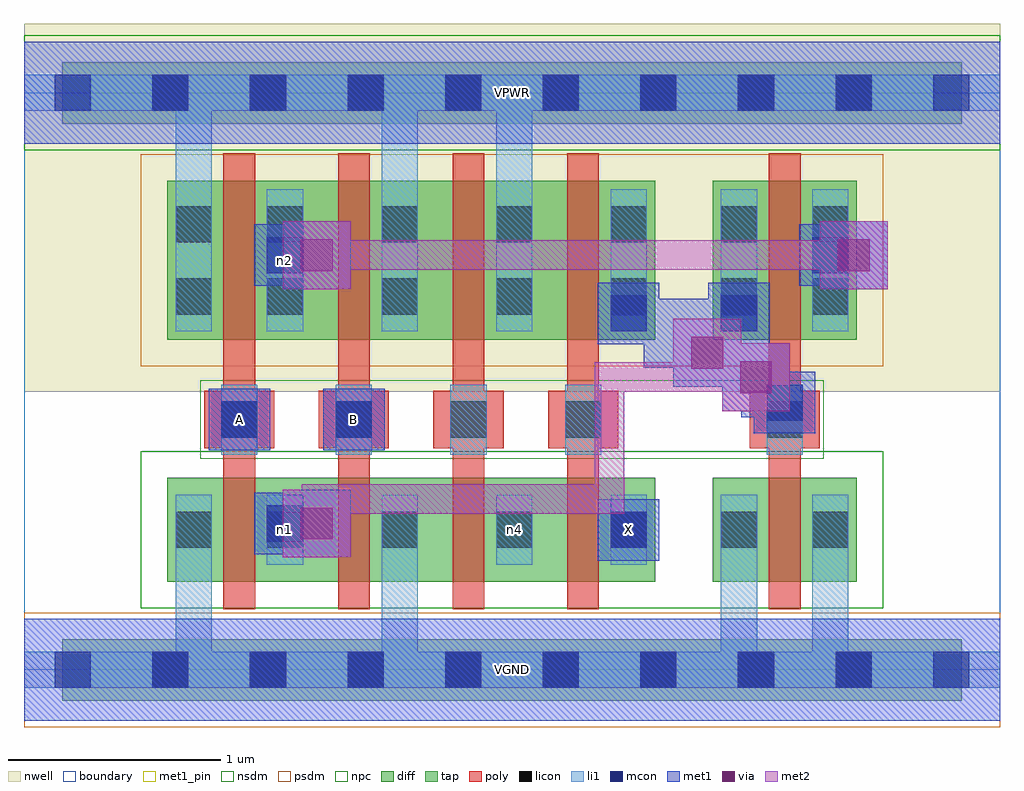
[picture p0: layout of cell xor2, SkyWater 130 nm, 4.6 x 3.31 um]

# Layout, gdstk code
import gdstk
lib = gdstk.Library(unit=1e-6, precision=1e-09)
def R(c, l, rs):  # rectangles x0, y0, x1, y1
    for r in rs: c.add(gdstk.rectangle(r[:2], r[2:], *l))
def A(c, l, x, y, w, h, nx, ny, dx, dy):  # array of equal rectangles
    R(c, l, [(x+i*dx, y+j*dy, x+i*dx+w, y+j*dy+h) for i in range(nx) for j in range(ny)])
nwell = (64, 20)
diff = (65, 20)
tap = (65, 44)
poly = (66, 20)
licon = (66, 44)
li1 = (67, 20)
mcon = (67, 44)
met1_pin = (68, 16)
met1 = (68, 20)
via = (68, 44)
met2 = (69, 20)
nsdm = (93, 44)
psdm = (94, 20)
npc = (95, 20)
boundary = (235, 4)

xor2 = lib.new_cell('xor2')
R(xor2, nwell, [(0,1.31,4.6,3.045)])
R(xor2, diff, [(0.675,0.415,2.975,0.905), (3.245,0.415,3.925,0.905), (0.675,1.555,2.975,2.305), (3.245,1.555,3.925,2.305)])
R(xor2, tap, [(0.18,-0.145,4.42,0.145), (0.18,2.575,4.42,2.865)])
A(xor2, poly, 0.94, 0.285, 0.15, 2.15, 4, 1, 0.54, 0)
A(xor2, poly, 0.85, 1.045, 0.33, 0.27, 4, 1, 0.54, 0)
R(xor2, poly, [(3.51,0.285,3.66,2.435), (3.42,1.045,3.75,1.315)])
A(xor2, licon, 0.605, -0.085, 0.17, 0.17, 8, 2, 0.46, 2.72)
A(xor2, licon, 1.145, 0.575, 0.17, 0.17, 4, 2, 0.54, 1.1)
A(xor2, licon, 0.93, 1.095, 0.17, 0.17, 4, 1, 0.54, 0)
A(xor2, licon, 1.145, 2.015, 0.17, 0.17, 4, 1, 0.54, 0)
R(xor2, licon, [(0.715,0.575,0.885,0.745), (3.285,0.575,3.455,0.745), (3.715,0.575,3.885,0.745), (3.5,1.095,3.67,1.265), (0.715,1.675,0.885,1.845), (3.285,1.675,3.455,1.845), (3.715,1.675,3.885,1.845), (0.715,2.015,0.885,2.185), (3.285,2.015,3.455,2.185), (3.715,2.015,3.885,2.185)])
A(xor2, li1, 1.145, 0.495, 0.17, 0.33, 4, 1, 0.54, 0)
A(xor2, li1, 0.93, 1.015, 0.17, 0.33, 4, 1, 0.54, 0)
A(xor2, li1, 1.145, 1.595, 0.17, 0.67, 4, 1, 0.54, 0)
R(xor2, li1, [(0,-0.085,4.6,0.085), (0.715,-0.085,0.885,0.825), (1.685,-0.085,1.855,0.825), (3.285,-0.085,3.455,0.825), (3.715,-0.085,3.885,0.825), (0.715,0.495,0.885,0.825), (3.285,0.495,3.455,0.825), (3.715,0.495,3.885,0.825), (3.5,1.015,3.67,1.345), (0.715,1.595,0.885,2.265), (0.715,1.595,0.885,2.805), (1.685,1.595,1.855,2.805), (2.225,1.595,2.395,2.805), (3.285,1.595,3.455,2.265), (3.715,1.595,3.885,2.265), (0,2.635,4.6,2.805)])
A(xor2, mcon, 0.145, -0.085, 0.17, 0.17, 10, 2, 0.46, 2.72)
R(xor2, mcon, [(2.765,0.575,2.935,0.745), (1.145,0.605,1.315,0.775), (0.93,1.095,1.1,1.265), (1.47,1.095,1.64,1.265), (3.5,1.175,3.67,1.345), (2.765,1.595,2.935,1.765), (3.285,1.595,3.455,1.765), (1.145,1.87,1.315,2.04), (3.715,1.87,3.885,2.04)])
R(xor2, met1_pin, [(0,-0.24,4.6,0.24), (2.705,0.515,2.995,0.805), (0.87,1.035,1.16,1.325), (1.41,1.035,1.7,1.325), (0,2.48,4.6,2.96)])
R(xor2, met1, [(0,-0.24,4.6,0.24), (2.705,0.515,2.995,0.805), (1.22,0.53,1.54,0.85), (1.085,0.545,1.375,0.835), (1.16,0.62,1.45,0.76), (0.87,1.035,1.16,1.325), (1.41,1.035,1.7,1.325), (3.44,1.115,3.73,1.405), (3.38,1.19,3.655,1.33), (3.38,1.19,3.52,1.45), (3.29,1.22,3.61,1.54), (3.06,1.335,3.38,1.655), (2.92,1.425,3.06,1.75), (2.92,1.425,3.29,1.565), (3.06,1.425,3.15,1.75), (3.15,1.425,3.29,1.75), (2.705,1.535,2.995,1.825), (3.225,1.535,3.515,1.825), (2.78,1.61,3.06,1.75), (3.06,1.61,3.15,1.75), (3.15,1.61,3.44,1.75), (1.22,1.795,1.54,2.115), (3.75,1.795,4.07,2.115), (1.085,1.81,1.375,2.1), (3.655,1.81,3.945,2.1), (1.16,1.885,1.45,2.025), (3.73,1.885,3.98,2.025), (0,2.48,4.6,2.96)])
R(xor2, via, [(1.305,0.615,1.455,0.765), (3.375,1.305,3.525,1.455), (3.145,1.42,3.295,1.57), (1.305,1.88,1.455,2.03), (3.835,1.88,3.985,2.03)])
R(xor2, met2, [(1.22,0.53,1.54,0.85), (1.31,0.62,1.45,0.875), (1.31,0.735,2.83,0.875), (2.69,0.735,2.83,1.45), (3.29,1.22,3.61,1.54), (2.69,1.31,3.29,1.45), (3.15,1.31,3.29,1.565), (3.15,1.31,3.52,1.45), (3.06,1.335,3.38,1.655), (1.22,1.795,1.54,2.115), (3.75,1.795,4.07,2.115), (1.31,1.885,3.98,2.025)])
R(xor2, nsdm, [(0.55,0.29,4.05,1.03), (0,2.45,4.6,2.99)])
R(xor2, psdm, [(0,-0.27,4.6,0.27), (0.55,1.43,4.05,2.43)])
R(xor2, npc, [(0.83,0.995,3.77,1.365)])
R(xor2, boundary, [(0,0,4.6,2.72)])
xor2.add(gdstk.Label('n1', (1.23,0.66), layer=67, texttype=5))
xor2.add(gdstk.Label('n4', (2.31,0.66), layer=67, texttype=5))
xor2.add(gdstk.Label('n2', (1.23,1.93), layer=67, texttype=5))
xor2.add(gdstk.Label('A', (1.015,1.18), layer=68, texttype=5))
xor2.add(gdstk.Label('B', (1.555,1.18), layer=68, texttype=5))
xor2.add(gdstk.Label('X', (2.85,0.66), layer=68, texttype=5))
xor2.add(gdstk.Label('VPWR', (2.3,2.72), layer=68, texttype=5))
xor2.add(gdstk.Label('VGND', (2.3,0), layer=68, texttype=5))
xor2.add(gdstk.Label('A', (1.015,1.18), layer=68, texttype=16))
xor2.add(gdstk.Label('B', (1.555,1.18), layer=68, texttype=16))
xor2.add(gdstk.Label('X', (2.85,0.66), layer=68, texttype=16))
xor2.add(gdstk.Label('VPWR', (2.3,2.72), layer=68, texttype=16))
xor2.add(gdstk.Label('VGND', (2.3,0), layer=68, texttype=16))

lib.write_gds('xor2.gds')
